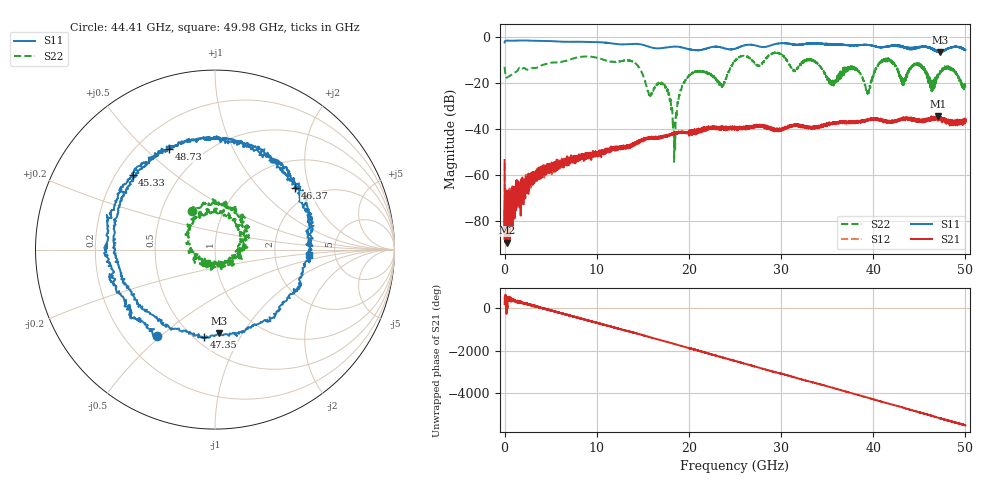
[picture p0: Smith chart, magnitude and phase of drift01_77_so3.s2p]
!Created with skrf (http://scikit-rf.org).
# Hz S RI R 50.0
!freq ReS11 ImS11 ReS21 ImS21 ReS12 ImS12 ReS22 ImS22
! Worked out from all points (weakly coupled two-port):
!   10001 points, 300 kHz to 50 GHz, reference 50 ohm
!   highest |S21| = -34.24 dB at 47.05 GHz (marker M1); lowest = -89.6 dB at 250.3 MHz (marker M2)
!   lowest |S11| = -6.6 dB at 47.28 GHz (marker M3), VSWR 2.76, Z = 33.3 - j39.8 ohm
!   |S11| at or under -10 dB: nowhere
!   |S22| runs from -54.3 to -6.6 dB; largest |S21 - S12| = 0.0042
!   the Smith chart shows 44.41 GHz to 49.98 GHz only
!   S11 on the Smith chart (normalised r, x): 44.41 GHz: 0.33, -0.49; 45.33 GHz: 0.27, +0.36; 46.37 GHz: 1.60, +1.61; 47.35 GHz: 0.56, -0.72; 48.73 GHz: 0.33, +0.59; 49.98 GHz: 3.19, -0.28
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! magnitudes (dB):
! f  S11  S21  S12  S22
! 300 kHz  -2.2  -53.5  -55.1  -12.9
! 250.3 MHz  -1.4  -89.6  -72.6  -17.5
! 8.335 GHz  -1.9  -52.5  -52.4  -8.5
! 16.67 GHz  -4.8  -43.7  -43.8  -20.0
! 17.67 GHz  -4.4  -42.6  -42.7  -22.9
! 18.45 GHz  -4.1  -42.0  -41.7  -43.3
! 19.97 GHz  -5.1  -41.6  -41.6  -16.9
! 23.63 GHz  -4.6  -39.6  -39.5  -20.6
! 25 GHz  -5.0  -39.3  -39.6  -10.3
! 33.34 GHz  -2.6  -39.4  -39.2  -10.0
! 39.43 GHz  -3.3  -35.9  -35.9  -23.5
! 41.67 GHz  -3.9  -36.8  -36.8  -10.2
! 43.22 GHz  -3.9  -35.1  -35.6  -20.0
! 44.41 GHz  -4.7  -35.9  -35.8  -12.0
! 45.33 GHz  -4.1  -36.4  -36.7  -13.2
! 46.37 GHz  -5.0  -35.1  -35.3  -22.6
! 47.05 GHz  -6.2  -34.2  -35.6  -16.3
! 47.28 GHz  -6.6  -35.2  -35.7  -14.6
! 47.35 GHz  -6.2  -35.7  -35.2  -15.1
! 48.73 GHz  -4.2  -37.4  -37.3  -14.7
! 49.98 GHz  -5.6  -36.9  -35.6  -21.5
! 50 GHz  -5.5  -35.5  -37.0  -22.0
